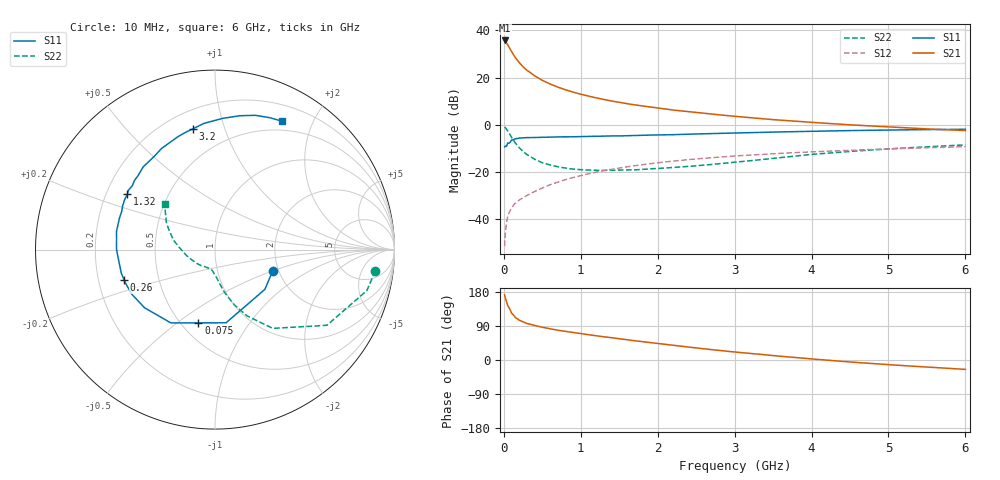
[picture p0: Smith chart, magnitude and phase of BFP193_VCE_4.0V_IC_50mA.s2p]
! Infineon Technologies  Discrete & RF Semiconductors
! BFP193
! VCE = 4.0 V,  IC =  50 mA
! Common Emitter S-Parameters:  Jan 2016
# GHz  S  MA  R  50
!  f  S11  S21  S12  S22
! GHz  MAG  ANG  MAG  ANG  MAG  ANG  MAG  ANG
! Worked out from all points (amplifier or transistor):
!   210 points, 10 MHz to 6 GHz, reference 50 ohm
!   highest |S21| = 35.8 dB at 10 MHz (marker M1)
!   |S21| within 3 dB of that: start of sweep to 70.31 MHz
!   unconditionally stable (mu >= 1): 503.2 MHz to 3.921 GHz
!   at 185 MHz: K = 0.69, MSG = 29.6 dB, |S12| = -32.2 dB
!   at 1.52 GHz: K = 1.07, MAG = 12.2 dB, |S12| = -18.2 dB
!   at 6 GHz: K = 0.94, MSG = 3.4 dB, |S12| = -9.2 dB
!   S11 on the Smith chart (normalised r, x): 10 MHz: 1.86, -0.50; 75 MHz: 0.61, -0.60; 260 MHz: 0.31, -0.15; 1.32 GHz: 0.29, +0.27; 3.2 GHz: 0.31, +0.78; 6 GHz: 0.39, +1.58
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0.01  0.3426 -20.5  61.42 171.8  0.0027 85.0  0.9009 -7.6
0.02  0.3554 -38.6  58.85 162.9  0.005 76.5  0.8762 -15.1
0.05  0.4124 -81.4  49.87 143.9  0.0116 65.1  0.7525 -34.1
0.075  0.4184 -102.7  42.1 135.5  0.0145 61.1  0.6393 -42.3
0.1  0.4767 -121.0  35.6 123.8  0.0175 58.4  0.5446 -53.7
0.15  0.5089 -140.4  26.42 112.1  0.0221 56.0  0.4101 -64.2
0.2  0.526 -151.8  20.84 105.0  0.0255 56.9  0.3289 -70.5
0.26  0.5338 -161.3  16.41 99.3  0.0294 58.2  0.264 -75.5
0.3  0.5383 -165.9  14.33 96.3  0.032 59.6  0.2361 -78.1
0.4  0.5414 -174.5  10.93 90.9  0.0389 61.7  0.1868 -82.7
0.5  0.5489 179.6  8.777 86.4  0.0459 63.5  0.1579 -86.5
0.6  0.551 174.2  7.348 82.3  0.054 64.2  0.1411 -89.8
0.7  0.5583 169.5  6.331 78.6  0.0612 64.7  0.1297 -92.7
0.9  0.5605 162.0  4.934 72.5  0.0768 64.0  0.1156 -98.3
1.02  0.5631 157.1  4.378 69.1  0.086 63.1  0.112 -101.7
1.32  0.5788 147.5  3.398 60.7  0.109 60.3  0.1088 -110.9
2.02  0.6127 127.8  2.248 43.3  0.1589 52.0  0.12 -134.5
3.1  0.678 102.4  1.471 19.2  0.2244 38.0  0.1676 -171.4
3.2  0.6839 100.5  1.424 17.5  0.2295 36.7  0.1739 -174.3
4.1  0.7369 85.1  1.105 1.2  0.2734 25.9  0.2441 165.1
5.1  0.783 72.2  0.889 -13.6  0.3134 14.8  0.3172 149.1
6  0.8071 62.4  0.758 -24.8  0.3462 5.1  0.3768 137.4
